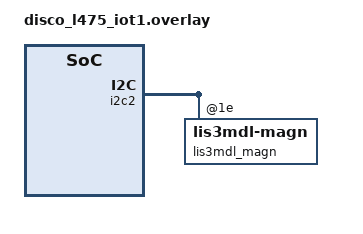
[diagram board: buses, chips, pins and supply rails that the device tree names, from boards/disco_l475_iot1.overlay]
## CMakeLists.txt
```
# SPDX-License-Identifier: Apache-2.0

cmake_minimum_required(VERSION 3.20.0)

list(APPEND SNIPPET_ROOT ${CMAKE_CURRENT_SOURCE_DIR})

find_package(Zephyr REQUIRED HINTS $ENV{ZEPHYR_BASE})
project(state_estimator)

FILE(GLOB app_sources src/*.c)
target_sources(app PRIVATE ${app_sources})
target_include_directories(app PRIVATE include)

# if(NOT eth_usbd IN_LIST SNIPPET)
#   set(SNIPPET eth_usbd ${SNIPPET} CACHE STRING "" FORCE)
# endif()
```

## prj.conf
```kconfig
CONFIG_LOG=y
CONFIG_LOG_MODE_DEFERRED=y
# INFO
CONFIG_LOG_DEFAULT_LEVEL=3

CONFIG_STDOUT_CONSOLE=y
CONFIG_I2C=y
CONFIG_SPI=y
CONFIG_SENSOR=y
CONFIG_CBPRINTF_FP_SUPPORT=y


CONFIG_LSM6DSL_TRIGGER_GLOBAL_THREAD=y
# 104 Hz
CONFIG_LSM6DSL_ACCEL_ODR=4
CONFIG_LSM6DSL_GYRO_ODR=4

# Hz
CONFIG_LIS3MDL_ODR="155"
```

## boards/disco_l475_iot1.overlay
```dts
/ {
    aliases {
        accel0 = &lsm6dsl;
        gyro0 = &lsm6dsl;
        magn0 = &lis3mdl_magn;
    };
};

&i2c2 {
    lis3mdl_magn: lis3mdl-magn@1e {
    };
};
```

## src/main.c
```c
#include <zephyr/kernel.h>
#include <zephyr/logging/log.h>

#include "imu_sensor.h"
#include "udp_stream.h"

LOG_MODULE_REGISTER(main_app, LOG_LEVEL_INF);

/* Network Configuration */
#define DEST_ADDR "255.255.255.255"
#define SERVER_PORT 5005

#define RATE_HZ 100
#define PERIOD_K_TICKS K_MSEC(1000 / RATE_HZ)

int main(void)
{
    int ret;

    /* 1. Initialize Network Subsystem */
    ret = udp_stream_init(DEST_ADDR, SERVER_PORT);
    if (ret < 0) {
        LOG_ERR("UDP initialization failed (%d). Halting.", ret);
        return -1;
    }

    /* 2. Initialize IMU Subsystem */
    ret = imu_init();
    if (ret < 0) {
        LOG_ERR("IMU initialization failed (%d). Halting.", ret);
        return -1;
    }

    LOG_INF("IMU UDP Streaming started to %s:%d", DEST_ADDR, SERVER_PORT);

    struct imu_data stream_payload;

	struct k_timer loop_timer;
    k_timer_init(&loop_timer, NULL, NULL);
	k_timer_start(&loop_timer, PERIOD_K_TICKS, PERIOD_K_TICKS);

    while (1) {
        imu_poll_update();
        imu_get_latest_data(&stream_payload);

        ret = udp_stream_send(&stream_payload, sizeof(stream_payload));
        if (ret < 0) {
            LOG_DBG("Dropped UDP packet: %d", ret); /* Using DBG to prevent console spam */
        }

        // imu_analyze_frequency();

        uint32_t overruns = k_timer_status_sync(&loop_timer);
        if (overruns > 1) {
            LOG_WRN("Loop rate overrun! Missed %u cycles", overruns - 1);
        }
    }

    return 0;
}
```

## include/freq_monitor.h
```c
#ifndef FREQ_MONITOR_H
#define FREQ_MONITOR_H

#include <stdint.h>
#include <stdbool.h>
#include <zephyr/sys/atomic.h>

struct freq_monitor {
    atomic_t event_count;
    int64_t last_calc_time;
    uint32_t last_hz;
};

/**
 * Initializes the frequency monitor.
 */
void freq_monitor_init(struct freq_monitor *mon);

/**
 * Increments the event counter. 
 * Safe to call from any context (Thread or ISR).
 */
void freq_monitor_tick(struct freq_monitor *mon);

/**
 * Calculates the current frequency if at least 1000ms have passed.
 * @return true if the frequency was updated, false otherwise.
 */
bool freq_monitor_update(struct freq_monitor *mon);

/**
 * Returns the last calculated frequency in Hz.
 */
uint32_t freq_monitor_get_hz(struct freq_monitor *mon);

#endif /* FREQ_MONITOR_H */
```

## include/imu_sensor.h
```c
#ifndef IMU_SENSOR_H
#define IMU_SENSOR_H

#include <zephyr/drivers/sensor.h>

struct imu_data {
    struct sensor_value accel[3];
    struct sensor_value gyro[3];
    struct sensor_value magn[3];
};

/**
 * Initializes the IMU sensors and sets up triggers if supported.
 * @return 0 on success, negative error code on failure.
 */
int imu_init(void);

/**
 * Polls any sensors that fell back to polling mode.
 * Automatically skips sensors handled by interrupts.
 */
void imu_poll_update(void);

/**
 * Retrieves the latest copied IMU data safely.
 * @param out_data Pointer to a buffer where the data will be copied.
 */
void imu_get_latest_data(struct imu_data *out_data);

/**
 * Helper to print the IMU data to the console using the Zephyr logging subsystem.
 */
void imu_print_data(void);

/**
 * Computes and prints the actual frequency (Hz) of each sensor.
 * Designed to be called continuously; will only print once per second.
 */
void imu_analyze_frequency(void);

#endif /* IMU_SENSOR_H */
```

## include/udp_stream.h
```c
#ifndef UDP_STREAM_H
#define UDP_STREAM_H

#include <stddef.h>
#include <stdint.h>

/**
 * @brief Initializes the UDP socket and destination address.
 * 
 * @param dest_ip String representation of the destination IP (e.g., "255.255.255.255")
 * @param port Destination port
 * @return 0 on success, negative error code on failure.
 */
int udp_stream_init(const char *dest_ip, uint16_t port);

/**
 * @brief Sends an arbitrary payload over the initialized UDP socket.
 * 
 * @param data Pointer to the payload buffer.
 * @param length Size of the payload in bytes.
 * @return Bytes sent on success, negative error code on failure.
 */
int udp_stream_send(const void *data, size_t length);

#endif /* UDP_STREAM_H */
```

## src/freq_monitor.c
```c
#include "freq_monitor.h"
#include <zephyr/kernel.h>

void freq_monitor_init(struct freq_monitor *mon)
{
    atomic_set(&mon->event_count, 0);
    mon->last_calc_time = k_uptime_get();
    mon->last_hz = 0;
}

void freq_monitor_tick(struct freq_monitor *mon)
{
    atomic_inc(&mon->event_count);
}

bool freq_monitor_update(struct freq_monitor *mon)
{
    int64_t now = k_uptime_get();
    int64_t delta_ms = now - mon->last_calc_time;

    if (delta_ms >= 1000) {
        /* Atomically read and clear the counter to prevent race conditions */
        atomic_val_t count = atomic_set(&mon->event_count, 0);
        
        mon->last_hz = (uint32_t)((count * 1000) / delta_ms);
        mon->last_calc_time = now;
        return true;
    }
    return false;
}

uint32_t freq_monitor_get_hz(struct freq_monitor *mon)
{
    return mon->last_hz;
}
```

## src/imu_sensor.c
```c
#include "imu_sensor.h"
#include "freq_monitor.h"
#include <zephyr/kernel.h>
#include <zephyr/device.h>
#include <zephyr/logging/log.h>
#include <stdint.h>

LOG_MODULE_REGISTER(imu_sensor, LOG_LEVEL_INF);

#define ACCEL_NODE DT_ALIAS(accel0)
#define GYRO_NODE  DT_ALIAS(gyro0)
#define MAGN_NODE  DT_ALIAS(magn0)

#if !DT_NODE_HAS_STATUS(ACCEL_NODE, okay) || \
    !DT_NODE_HAS_STATUS(GYRO_NODE, okay) || \
    !DT_NODE_HAS_STATUS(MAGN_NODE, okay)
#error "Unsupported board: accel0, gyro0, and/or magn0 aliases missing."
#endif

/* Polling intervals based on Kconfig ODRs (104 Hz and 155 Hz) */
#define POLL_INTERVAL_ACCEL_MS 9   /* ~111 Hz to ensure we don't miss 104 Hz samples */
#define POLL_INTERVAL_GYRO_MS  9   
#define POLL_INTERVAL_MAGN_MS  6   /* ~166 Hz for 155 Hz target */

static const struct device *accel_dev = DEVICE_DT_GET(ACCEL_NODE);
static const struct device *gyro_dev  = DEVICE_DT_GET(GYRO_NODE);
static const struct device *magn_dev  = DEVICE_DT_GET(MAGN_NODE);

K_MUTEX_DEFINE(imu_mutex);
static struct imu_data current_data;

static bool use_poll_accel = false;
static bool use_poll_gyro  = false;
static bool use_poll_magn  = false;

static struct freq_monitor accel_freq;
static struct freq_monitor gyro_freq;
static struct freq_monitor magn_freq;

/* 64-bit trackers to prevent 49.7-day rollover bugs */
static int64_t last_poll_accel     = 0;
static int64_t last_poll_gyro      = 0;
static int64_t last_poll_magn      = 0;

static void extract_xyz(const struct device *dev, 
                        enum sensor_channel cx, enum sensor_channel cy, enum sensor_channel cz, 
                        struct sensor_value *out) 
{
    sensor_channel_get(dev, cx, &out[0]);
    sensor_channel_get(dev, cy, &out[1]);
    sensor_channel_get(dev, cz, &out[2]);
}

static void read_device_data(const struct device *dev)
{
    if (sensor_sample_fetch(dev) < 0) {
        LOG_ERR("Failed to fetch sample from %s", dev->name);
        return;
    }

    k_mutex_lock(&imu_mutex, K_FOREVER);
    if (dev == accel_dev) {
        extract_xyz(dev, SENSOR_CHAN_ACCEL_X, SENSOR_CHAN_ACCEL_Y, SENSOR_CHAN_ACCEL_Z, current_data.accel);
        freq_monitor_tick(&accel_freq);
    }
    if (dev == gyro_dev) {
        extract_xyz(dev, SENSOR_CHAN_GYRO_X, SENSOR_CHAN_GYRO_Y, SENSOR_CHAN_GYRO_Z, current_data.gyro);
        freq_monitor_tick(&gyro_freq);
    }
    if (dev == magn_dev) {
        extract_xyz(dev, SENSOR_CHAN_MAGN_X, SENSOR_CHAN_MAGN_Y, SENSOR_CHAN_MAGN_Z, current_data.magn);
        freq_monitor_tick(&magn_freq);
    }
    k_mutex_unlock(&imu_mutex);
}

static void trigger_handler(const struct device *dev, const struct sensor_trigger *trig)
{
    read_device_data(dev);
}

int imu_init(void)
{
    if (!device_is_ready(accel_dev) || !device_is_ready(gyro_dev) || !device_is_ready(magn_dev)) {
        LOG_ERR("One or more IMU devices not ready.");
        return -ENODEV;
    }

    struct sensor_trigger trig = { .type = SENSOR_TRIG_DATA_READY, .chan = SENSOR_CHAN_ALL };

    if (sensor_trigger_set(accel_dev, &trig, trigger_handler) < 0) {
        use_poll_accel = true;
        LOG_WRN("Accelerometer in polling mode.");
    }

    if (gyro_dev != accel_dev) {
        if (sensor_trigger_set(gyro_dev, &trig, trigger_handler) < 0) {
            use_poll_gyro = true;
            LOG_WRN("Gyroscope in polling mode.");
        }
    } else {
        use_poll_gyro = use_poll_accel;
    }

    if (magn_dev != accel_dev && magn_dev != gyro_dev) {
        if (sensor_trigger_set(magn_dev, &trig, trigger_handler) < 0) {
            use_poll_magn = true;
            LOG_WRN("Magnetometer in polling mode.");
        }
    } else {
        use_poll_magn = (magn_dev == accel_dev) ? use_poll_accel : use_poll_gyro;
    }

    int64_t now = k_uptime_get();
    last_poll_accel = now;
    last_poll_gyro  = now;
    last_poll_magn  = now;

    LOG_INF("IMU initialized successfully.");
    return 0;
}

void imu_poll_update(void)
{
    int64_t now = k_uptime_get();

    if (use_poll_accel && (now - last_poll_accel >= POLL_INTERVAL_ACCEL_MS)) {
        read_device_data(accel_dev);
        last_poll_accel = now;
        
        if (gyro_dev == accel_dev) last_poll_gyro = now;
        if (magn_dev == accel_dev) last_poll_magn = now;
    }

    if (use_poll_gyro && gyro_dev != accel_dev && (now - last_poll_gyro >= POLL_INTERVAL_GYRO_MS)) {
        read_device_data(gyro_dev);
        last_poll_gyro = now;
        
        if (magn_dev == gyro_dev) last_poll_magn = now;
    }

    if (use_poll_magn && magn_dev != accel_dev && magn_dev != gyro_dev && (now - last_poll_magn >= POLL_INTERVAL_MAGN_MS)) {
        read_device_data(magn_dev);
        last_poll_magn = now;
    }
}

void imu_get_latest_data(struct imu_data *out_data)
{
    if (out_data == NULL) return;

    k_mutex_lock(&imu_mutex, K_FOREVER);
    *out_data = current_data;
    k_mutex_unlock(&imu_mutex);
}

void imu_print_data(void)
{
    struct imu_data local_data;
    imu_get_latest_data(&local_data);

    LOG_INF("Accel (m/s^2): X=%f, Y=%f, Z=%f", 
            sensor_value_to_double(&local_data.accel[0]),
            sensor_value_to_double(&local_data.accel[1]),
            sensor_value_to_double(&local_data.accel[2]));

    LOG_INF("Gyro (rad/s):  X=%f, Y=%f, Z=%f", 
            sensor_value_to_double(&local_data.gyro[0]),
            sensor_value_to_double(&local_data.gyro[1]),
            sensor_value_to_double(&local_data.gyro[2]));

    LOG_INF("Magn (gauss):  X=%f, Y=%f, Z=%f", 
            sensor_value_to_double(&local_data.magn[0]),
            sensor_value_to_double(&local_data.magn[1]),
            sensor_value_to_double(&local_data.magn[2]));
}

void imu_analyze_frequency(void)
{
    bool accel_updated = freq_monitor_update(&accel_freq);
    bool gyro_updated  = freq_monitor_update(&gyro_freq);
    bool magn_updated  = freq_monitor_update(&magn_freq);

    if (accel_updated || gyro_updated || magn_updated) {
        LOG_INF("Accel: %u Hz | Gyro: %u Hz | Magn: %u Hz", 
                freq_monitor_get_hz(&accel_freq), 
                freq_monitor_get_hz(&gyro_freq),
                freq_monitor_get_hz(&magn_freq));
    }

}
```

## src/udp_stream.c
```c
#include "udp_stream.h"
#include <zephyr/kernel.h>
#include <zephyr/net/socket.h>
#include <arpa/inet.h>
#include <unistd.h>
#include <zephyr/logging/log.h>


LOG_MODULE_REGISTER(udp_stream, LOG_LEVEL_INF);


#if DT_NODE_HAS_STATUS(DT_NODELABEL(usbotg_fs), okay)

#include <zephyr/usb/usbd.h>


#include <zephyr/usb/usb_ch9.h> /* Contains USB_SCD_ macros */

/* 1. Define the Device Context */
/* Using 'usbotg_fs' directly to match your H750 hardware node */
USBD_DEVICE_DEFINE(my_usbd, 
                   DEVICE_DT_GET(DT_NODELABEL(usbotg_fs)), 
                   0x0483, 0x0001);

/* 2. Define Basic String Descriptors */
USBD_DESC_LANG_DEFINE(my_lang);
USBD_DESC_MANUFACTURER_DEFINE(my_mfr, "Zephyr");
USBD_DESC_PRODUCT_DEFINE(my_prdc, "DD's NCM Network Interface");

/* 3. Define the Full-Speed Configuration */


USBD_DESC_CONFIG_DEFINE(my_cfg_desc, "Default Config");

/* Fixed macro: removed '_ATTRIBUTES_' from the constant name */
USBD_CONFIGURATION_DEFINE(my_fs_cfg, 
                          USB_SCD_SELF_POWERED, 
                          100, 
                          &my_cfg_desc);
int start_usb_networking(void)
{
    int err;
    struct usbd_context *ctx = &my_usbd;

    /* Add Mandatory String Descriptors */
    usbd_add_descriptor(ctx, &my_lang);
    usbd_add_descriptor(ctx, &my_mfr);
    usbd_add_descriptor(ctx, &my_prdc);

    /* Setup Device Triple for IAD (Required for CDC NCM/Compound devices) */
    /* 0xEF = Miscellaneous, 0x02 = Common Class, 0x01 = Interface Association */
    usbd_device_set_code_triple(ctx, USBD_SPEED_FS, 0xEF, 0x02, 0x01);

    /* Bind Configuration and Register NCM Class */
    err = usbd_add_configuration(ctx, USBD_SPEED_FS, &my_fs_cfg);
    if (err) return err;

    /* Register all classes enabled in prj.conf (e.g. CDC NCM) */
    err = usbd_register_all_classes(ctx, USBD_SPEED_FS, 1, NULL);
    if (err) return err;

    /* Initialize and Fire it up */
    err = usbd_init(ctx);
    if (err) return err;

    return usbd_enable(ctx);
}
#endif


static int udp_sock = -1;
static struct sockaddr_in destination_addr;

int udp_stream_init(const char *dest_ip, uint16_t port)
{
    if (udp_sock >= 0) {
        LOG_WRN("UDP stream already initialized.");
        return 0;
    }

#if DT_NODE_HAS_STATUS(DT_NODELABEL(usbotg_fs), okay)

	start_usb_networking();
	printk("USB device enabled\n");
	
#endif

    udp_sock = socket(AF_INET, SOCK_DGRAM, IPPROTO_UDP);
    if (udp_sock < 0) {
        LOG_ERR("Failed to create UDP socket: %d", udp_sock);
        return udp_sock;
    }

    destination_addr.sin_family = AF_INET;
    destination_addr.sin_port = htons(port);
    
    if (inet_pton(AF_INET, dest_ip, &destination_addr.sin_addr) <= 0) {
        LOG_ERR("Invalid destination IP address: %s", dest_ip);
        close(udp_sock);
        udp_sock = -1;
        return -EINVAL;
    }

    LOG_INF("UDP stream initialized targeting %s:%u", dest_ip, port);
    return 0;
}

int udp_stream_send(const void *data, size_t length)
{
    if (udp_sock < 0 || data == NULL || length == 0) {
        return -EINVAL;
    }

    int ret = sendto(udp_sock, data, length, 0, 
                     (struct sockaddr *)&destination_addr, 
                     sizeof(destination_addr));

    if (ret < 0) {
        LOG_ERR("UDP send failed: %d", errno);
        return -errno;
    }

    return ret;
}
```
